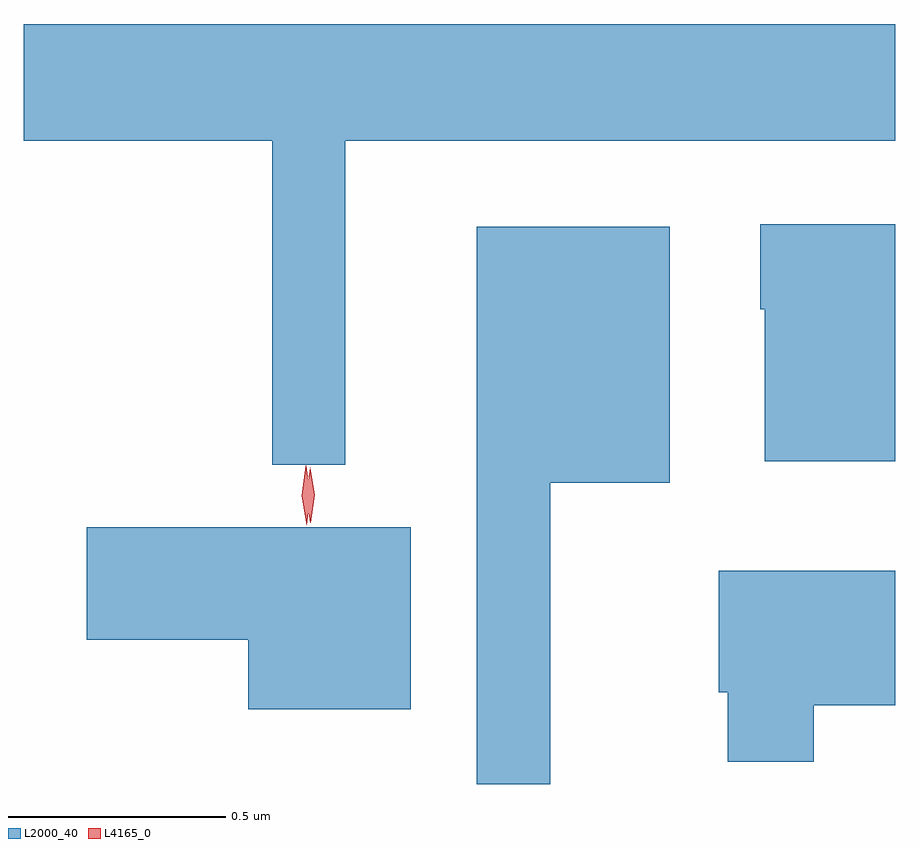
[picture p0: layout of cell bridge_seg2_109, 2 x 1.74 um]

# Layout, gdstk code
import gdstk
lib = gdstk.Library(unit=1e-6, precision=1e-09)
def P(c, l, *ps):  # polygons
    for p in ps: c.add(gdstk.Polygon(p, *l))
L2000_40 = (2000, 40)
L4165_0 = (4165, 0)

bridge_seg2_109 = lib.new_cell('bridge_seg2_109')
P(bridge_seg2_109, L2000_40, [(884.479,1074.956),(885.741,1074.956),(885.741,1075.224),(883.741,1075.224),(883.741,1074.956),(884.311,1074.956),(884.311,1074.213),(884.479,1074.213)],
  [(885.741,1074.764),(885.431,1074.764),(885.431,1074.57),(885.441,1074.57),(885.441,1074.221),(885.741,1074.221)],
  [(884.949,1074.171),(885.224,1074.171),(885.224,1074.759),(884.781,1074.759),(884.781,1073.48),(884.949,1073.48)],
  [(884.629,1074.069),(883.886,1074.069),(883.886,1073.811),(884.256,1073.811),(884.256,1073.651),(884.629,1073.651)],
  [(885.554,1073.661),(885.741,1073.661),(885.741,1073.969),(885.336,1073.969),(885.336,1073.691),(885.356,1073.691),(885.356,1073.531),(885.554,1073.531)])
P(bridge_seg2_109, L4165_0, [(884.39,1074.074),(884.39,1074.074),(884.379,1074.142),(884.388,1074.21),(884.388,1074.21),(884.389,1074.21),(884.399,1074.142),(884.391,1074.074)],
  [(884.399,1074.08),(884.399,1074.08),(884.389,1074.144),(884.398,1074.206),(884.399,1074.207),(884.399,1074.206),(884.409,1074.144),(884.4,1074.08)])

lib.write_gds('bridge_seg2_109.gds')
